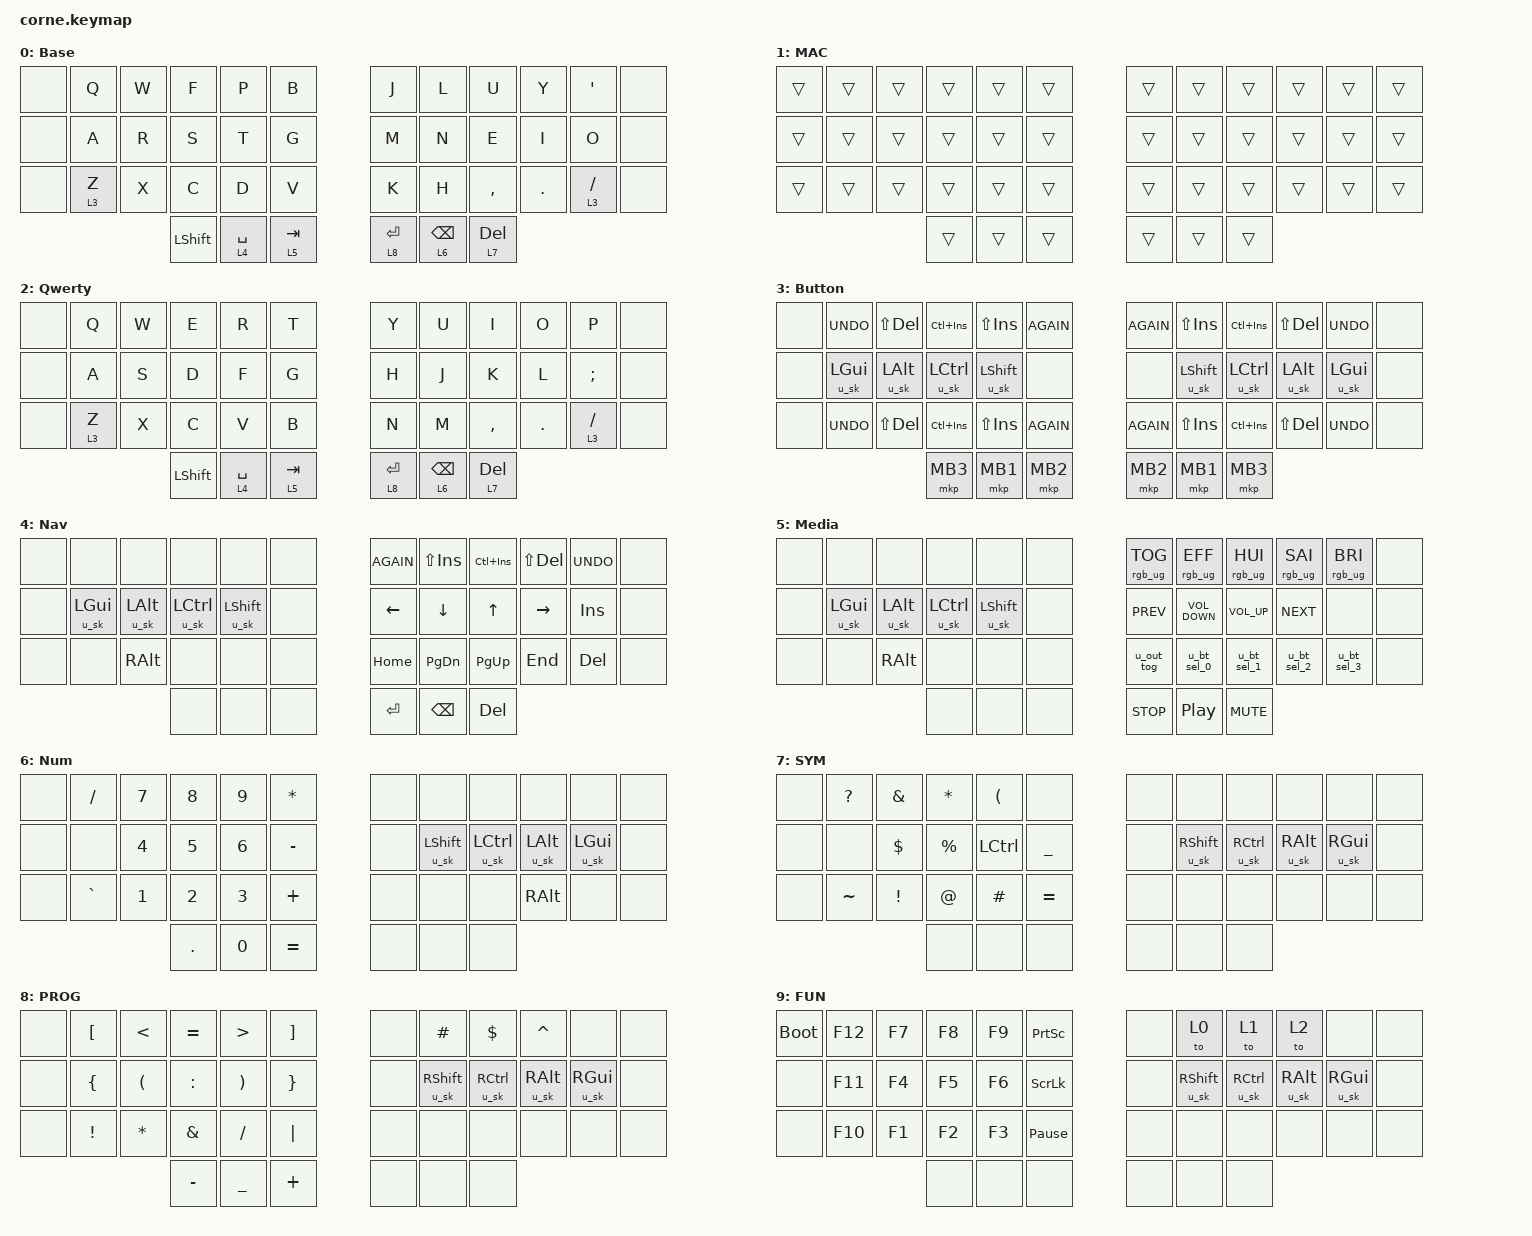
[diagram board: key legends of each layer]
#include <behaviors/mouse_key_press.dtsi>
#include <dt-bindings/zmk/mouse.h>
#include <behaviors.dtsi>
#include <dt-bindings/zmk/bt.h>
#include <dt-bindings/zmk/keys.h>
#include <dt-bindings/zmk/outputs.h>
#include <dt-bindings/zmk/pointing.h>
#include <dt-bindings/zmk/rgb.h>

/ {
    combos {
        compatible = "zmk,combos";

        caps_word_combo {
            bindings = <&caps_word>;
            key-positions = <16 19>;
            layers = <0>;
        };

        delete {
            bindings = <&kp LC(BACKSPACE)>;
            key-positions = <9 10>;
            layers = <0>;
        };

        escape {
            bindings = <&kp ESC>;
            key-positions = <1 2>;
            layers = <0 3 1 2>;
            require-prior-idle-ms = <50>;
        };

        func {
            bindings = <&mo_func>;
            key-positions = <37 40>;
        };

        mac_del {
            bindings = <&kp LA(BACKSPACE)>;
            key-positions = <9 10>;
            layers = <1>;
        };
    };

    keymap {
        compatible = "zmk,keymap";

        BASE {
            display-name = "Base";
            bindings = <
&none  &kp Q      &kp W  &kp F           &kp P          &kp B          &kp J          &kp L         &kp U        &kp Y    &kp APOS       &none
&none  &kp A      &kp R  &kp S           &kp T          &kp G          &kp M          &kp N         &kp E        &kp I    &kp O          &none
&none  &u_lt 3 Z  &kp X  &kp C           &kp D          &kp V          &kp K          &kp H         &kp COMMA    &kp DOT  &u_lt 3 SLASH  &none
                         &kp LEFT_SHIFT  &u_lt 4 SPACE  &u_lt 5 TAB    &u_lt 8 ENTER  &u_lt 6 BSPC  &u_lt 7 DEL
            >;
        };

        MacBase {
            bindings = <
&trans  &trans  &trans  &trans  &trans  &trans    &trans  &trans  &trans  &trans  &trans  &trans
&trans  &trans  &trans  &trans  &trans  &trans    &trans  &trans  &trans  &trans  &trans  &trans
&trans  &trans  &trans  &trans  &trans  &trans    &trans  &trans  &trans  &trans  &trans  &trans
                        &trans  &trans  &trans    &trans  &trans  &trans
            >;

            label = "MAC";
        };

        Extra {
            display-name = "Qwerty";
            bindings = <
&none  &kp Q      &kp W  &kp E           &kp R          &kp T          &kp Y          &kp U         &kp I        &kp O    &kp P          &none
&none  &kp A      &kp S  &kp D           &kp F          &kp G          &kp H          &kp J         &kp K        &kp L    &kp SEMI       &none
&none  &u_lt 3 Z  &kp X  &kp C           &kp V          &kp B          &kp N          &kp M         &kp COMMA    &kp DOT  &u_lt 3 SLASH  &none
                         &kp LEFT_SHIFT  &u_lt 4 SPACE  &u_lt 5 TAB    &u_lt 8 ENTER  &u_lt 6 BSPC  &u_lt 7 DEL
            >;
        };

        BUTTON {
            display-name = "Button";
            bindings = <
&none  &kp K_UNDO  &kp LS(DEL)  &kp LC(INS)  &kp LS(INS)  &kp K_AGAIN    &kp K_AGAIN  &kp LS(INS)  &kp LC(INS)  &kp LS(DEL)  &kp K_UNDO  &none
&none  &u_sk LGUI  &u_sk LALT   &u_sk LCTRL  &u_sk LSHFT  &none          &none        &u_sk LSHFT  &u_sk LCTRL  &u_sk LALT   &u_sk LGUI  &none
&none  &kp K_UNDO  &kp LS(DEL)  &kp LC(INS)  &kp LS(INS)  &kp K_AGAIN    &kp K_AGAIN  &kp LS(INS)  &kp LC(INS)  &kp LS(DEL)  &kp K_UNDO  &none
                                &mkp MB3     &mkp MB1     &mkp MB2       &mkp MB2     &mkp MB1     &mkp MB3
            >;
        };

        NAV {
            display-name = "Nav";
            bindings = <
&none  &none       &none       &none        &none        &none    &kp K_AGAIN  &kp LS(INS)    &kp LC(INS)  &kp LS(DEL)  &kp K_UNDO  &none
&none  &u_sk LGUI  &u_sk LALT  &u_sk LCTRL  &u_sk LSHFT  &none    &kp LEFT     &kp DOWN       &kp UP       &kp RIGHT    &kp INS     &none
&none  &none       &kp RALT    &none        &none        &none    &kp HOME     &kp PAGE_DOWN  &kp PG_UP    &kp END      &kp DELETE  &none
                               &none        &none        &none    &kp RET      &kp BSPC       &kp DEL
            >;
        };

        MEDIA {
            display-name = "Media";
            bindings = <
&none  &none       &none       &none        &none        &none    &rgb_ug RGB_TOG  &rgb_ug RGB_EFF    &rgb_ug RGB_HUI  &rgb_ug RGB_SAI  &rgb_ug RGB_BRI  &none
&none  &u_sk LGUI  &u_sk LALT  &u_sk LCTRL  &u_sk LSHFT  &none    &kp C_PREV       &kp C_VOLUME_DOWN  &kp C_VOLUME_UP  &kp C_NEXT       &none            &none
&none  &none       &kp RALT    &none        &none        &none    &u_out_tog       &u_bt_sel_0        &u_bt_sel_1      &u_bt_sel_2      &u_bt_sel_3      &none
                               &none        &none        &none    &kp C_STOP       &kp C_PP           &kp C_MUTE
            >;
        };

        NUM {
            display-name = "Num";
            bindings = <
&none  &kp SLASH  &kp N7  &kp N8      &kp N9  &kp ASTERISK    &none  &none        &none        &none       &none       &none
&none  &none      &kp N4  &kp N5      &kp N6  &kp MINUS       &none  &u_sk LSHFT  &u_sk LCTRL  &u_sk LALT  &u_sk LGUI  &none
&none  &kp GRAVE  &kp N1  &kp N2      &kp N3  &kp PLUS        &none  &none        &none        &kp RALT    &none       &none
                          &kp PERIOD  &kp N0  &kp EQUAL       &none  &none        &none
            >;
        };

        SYM {
            bindings = <
&none  &kp QUESTION  &kp AMPERSAND    &kp ASTERISK  &kp LEFT_PARENTHESIS  &none             &none  &none              &none                &none            &none            &none
&none  &none         &kp DOLLAR       &kp PERCENT   &kp LCTRL             &kp UNDERSCORE    &none  &u_sk RIGHT_SHIFT  &u_sk RIGHT_CONTROL  &u_sk RIGHT_ALT  &u_sk RIGHT_GUI  &none
&none  &kp TILDE     &kp EXCLAMATION  &kp AT_SIGN   &kp HASH              &kp EQUAL         &none  &none              &none                &none            &none            &none
                                      &none         &none                 &none             &none  &none              &none
            >;

            label = "SYM";
        };

        PROG {
            bindings = <
&none  &kp LEFT_BRACKET  &kp LESS_THAN         &kp EQUAL      &kp GREATER_THAN       &kp RIGHT_BRACKET    &none  &kp HASH           &kp DOLLAR           &kp CARET        &none            &none
&none  &kp LEFT_BRACE    &kp LEFT_PARENTHESIS  &kp COLON      &kp RIGHT_PARENTHESIS  &kp RIGHT_BRACE      &none  &u_sk RIGHT_SHIFT  &u_sk RIGHT_CONTROL  &u_sk RIGHT_ALT  &u_sk RIGHT_GUI  &none
&none  &kp EXCLAMATION   &kp ASTERISK          &kp AMPERSAND  &kp SLASH              &kp PIPE             &none  &none              &none                &none            &none            &none
                                               &kp MINUS      &kp UNDERSCORE         &kp PLUS             &none  &none              &none
            >;

            label = "PROG";
        };

        FUN {
            bindings = <
&bootloader  &kp F12  &kp F7  &kp F8  &kp F9  &kp PRINTSCREEN    &none  &to 0              &to 1                &to 2            &none            &none
&none        &kp F11  &kp F4  &kp F5  &kp F6  &kp SCROLLLOCK     &none  &u_sk RIGHT_SHIFT  &u_sk RIGHT_CONTROL  &u_sk RIGHT_ALT  &u_sk RIGHT_GUI  &none
&none        &kp F10  &kp F1  &kp F2  &kp F3  &kp PAUSE_BREAK    &none  &none              &none                &none            &none            &none
                              &none   &none   &none              &none  &none              &none
            >;

            label = "FUN";
        };
    };
};

/ {
    macros {
        u_macro_u_bt_sel_0: u_macro_u_bt_sel_0 {
            compatible = "zmk,behavior-macro";
            #binding-cells = <0>;
            wait-ms = <0>;
            bindings = <&bt BT_SEL 0 &bt BT_CLR>;
        };
    };
};

/ {
    behaviors {
        u_bt_sel_0: u_bt_sel_0 {
            compatible = "zmk,behavior-mod-morph";
            #binding-cells = <0>;
            bindings = <&bt BT_SEL 0>, <&u_macro_u_bt_sel_0>;

            mods = <(MOD_LSFT|MOD_RSFT)>;
        };
    };
};

/ {
    macros {
        u_macro_u_bt_sel_1: u_macro_u_bt_sel_1 {
            compatible = "zmk,behavior-macro";
            #binding-cells = <0>;
            wait-ms = <0>;
            bindings = <&bt BT_SEL 1 &bt BT_CLR &to 0>;
        };
    };
};

/ {
    behaviors {
        u_bt_sel_1: u_bt_sel_1 {
            compatible = "zmk,behavior-mod-morph";
            #binding-cells = <0>;
            bindings = <&bt BT_SEL 1>, <&u_macro_u_bt_sel_1>;

            mods = <(MOD_LSFT|MOD_RSFT)>;
        };
    };
};

/ {
    macros {
        u_macro_u_bt_sel_2: u_macro_u_bt_sel_2 {
            compatible = "zmk,behavior-macro";
            #binding-cells = <0>;
            wait-ms = <0>;
            bindings = <&bt BT_SEL 2 &bt BT_CLR &to 1>;
        };
    };
};

/ {
    behaviors {
        u_bt_sel_2: u_bt_sel_2 {
            compatible = "zmk,behavior-mod-morph";
            #binding-cells = <0>;
            bindings = <&bt BT_SEL 2>, <&u_macro_u_bt_sel_2>;

            mods = <(MOD_LSFT|MOD_RSFT)>;
        };
    };
};

/ {
    macros {
        u_macro_u_bt_sel_3: u_macro_u_bt_sel_3 {
            compatible = "zmk,behavior-macro";
            #binding-cells = <0>;
            wait-ms = <0>;
            bindings = <&bt BT_SEL 3 &bt BT_CLR>;
        };
    };
};

/ {
    behaviors {
        u_bt_sel_3: u_bt_sel_3 {
            compatible = "zmk,behavior-mod-morph";
            #binding-cells = <0>;
            bindings = <&bt BT_SEL 3>, <&u_macro_u_bt_sel_3>;

            mods = <(MOD_LSFT|MOD_RSFT)>;
        };
    };
};

/ {
    macros {
        u_macro_u_bt_sel_4: u_macro_u_bt_sel_4 {
            compatible = "zmk,behavior-macro";
            #binding-cells = <0>;
            wait-ms = <0>;
            bindings = <&bt BT_SEL 4 &bt BT_CLR>;
        };
    };
};

/ {
    behaviors {
        u_bt_sel_4: u_bt_sel_4 {
            compatible = "zmk,behavior-mod-morph";
            #binding-cells = <0>;
            bindings = <&bt BT_SEL 4>, <&u_macro_u_bt_sel_4>;

            mods = <(MOD_LSFT|MOD_RSFT)>;
        };
    };
};

/ {
    behaviors {
        u_out_tog: u_out_tog {
            compatible = "zmk,behavior-mod-morph";
            #binding-cells = <0>;
            bindings = <&out OUT_TOG>, <&out OUT_USB>;

            mods = <(MOD_LSFT|MOD_RSFT)>;
        };
    };
};

/ {
    behaviors {
        u_caps_word: u_caps_word {
            compatible = "zmk,behavior-mod-morph";
            #binding-cells = <0>;
            bindings = <&caps_word>, <&kp CAPS>;

            mods = <(MOD_LSFT|MOD_RSFT)>;
        };
    };
};

/ {
    behaviors {
    };
};

/ {
    behaviors {
    };
};

/ {
    behaviors {
    };
};

/ {
    behaviors {
    };
};

/ {
    behaviors {
    };
};

/ {
    behaviors {
    };
};

/ {
    behaviors {
    };
};

/ {
    behaviors {
    };
};

/ {
    behaviors {
    };
};

/ {
    behaviors {
    };
};

/ {
    macros {
        u_macro_btn1: u_macro_btn1 {
            compatible = "zmk,behavior-macro";
            #binding-cells = <0>;
            wait-ms = <0>;
            bindings = <&kp KP_SLASH &kp KP_N5>;
        };
    };
};

/ {
    macros {
        u_macro_btn2: u_macro_btn2 {
            compatible = "zmk,behavior-macro";
            #binding-cells = <0>;
            wait-ms = <0>;
            bindings = <&kp KP_MINUS &kp KP_N5>;
        };
    };
};

/ {
    macros {
        u_macro_btn3: u_macro_btn3 {
            compatible = "zmk,behavior-macro";
            #binding-cells = <0>;
            wait-ms = <0>;
            bindings = <&kp KP_ASTERISK &kp KP_N5>;
        };

        mo_func: cancel_queued_os_mods_and_toggle_func {
            label = "MO_FUNC";
            compatible = "zmk,behavior-macro";
            #binding-cells = <0>;
            bindings =
                <&macro_press>,
                <&mo 9>,
                <&macro_tap>,
                <&kp F24>,
                <&macro_pause_for_release>,
                <&macro_release>,
                <&mo 9>;
        };
    };
};

/ {
    behaviors {
        u_mt: u_mt {
            compatible = "zmk,behavior-hold-tap";
            #binding-cells = <2>;
            tapping-term-ms = <200>;
            flavor = "tap-preferred";
            bindings = <&kp>, <&kp>;
        };

        u_lt: u_lt {
            compatible = "zmk,behavior-hold-tap";
            #binding-cells = <2>;
            tapping-term-ms = <200>;
            flavor = "tap-preferred";
            bindings = <&mo>, <&kp>;
        };

        u_sk: u_sk {
            compatible = "zmk,behavior-sticky-key";
            label = "U_SK";
            bindings = <&sk>;
            #binding-cells = <1>;
            ignore-modifiers;
            release-after-ms = <20000>;
        };
    };
};
